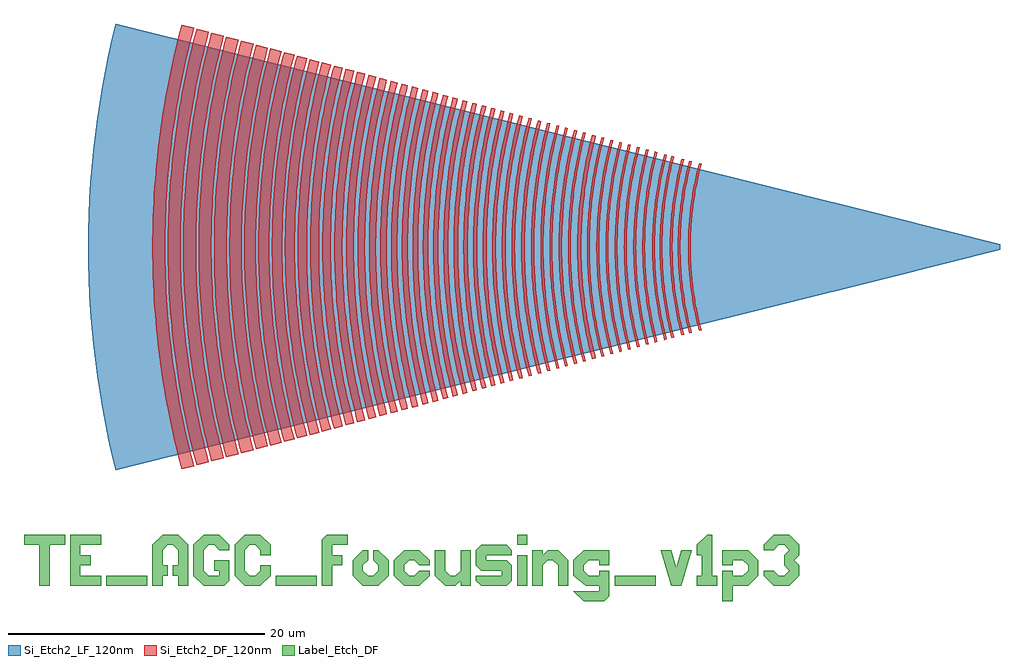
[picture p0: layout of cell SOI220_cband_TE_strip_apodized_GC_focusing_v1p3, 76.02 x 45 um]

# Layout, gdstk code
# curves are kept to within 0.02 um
import gdstk
lib = gdstk.Library(unit=1e-6, precision=1e-09)
def R(c, l, rs):  # rectangles x0, y0, x1, y1
    for r in rs: c.add(gdstk.rectangle(r[:2], r[2:], *l))
def P(c, l, *ps):  # polygons
    for p in ps: c.add(gdstk.Polygon(p, *l))
Si_Etch2_LF_120nm = (3, 0)
Si_Etch2_DF_120nm = (4, 0)
Label_Etch_DF = (100, 0)

text_gdsfactorypcomponen = lib.new_cell('text_gdsfactorypcomponentsptextsptext_TTE_AGC_focusing__f107b054')
R(text_gdsfactorypcomponen, Label_Etch_DF, [(6.8,0,10,0.8), (20,0,23.2,0.8), (38.8,0,39.6,2.4), (46.4,0,49.6,0.8), (38.8,3.2,39.6,4)])
P(text_gdsfactorypcomponen, Label_Etch_DF, [(26.8,0),(26,0.8),(26,2),(26.8,2.8),(27.2,2.8),(27.2,2),(26.8,1.6),(26.8,1.2),(27.2,0.8),(27.6,0.8),(28,1.2),(28,1.6),(27.6,2),(27.6,2.8),(28,2.8),(28.8,2),(28.8,0.8),(28,0)],
  [(30,0),(29.2,0.8),(29.2,2),(30,2.8),(31.2,2.8),(32,2),(32,1.6),(31.2,1.6),(30.8,2),(30.4,2),(30,1.6),(30,1.2),(30.4,0.8),(30.8,0.8),(31.2,1.2),(32,1.2),(32,0.8),(31.2,0)],
  [(33.2,0),(32.4,0.8),(32.4,2.8),(33.2,2.8),(33.2,1.2),(33.6,0.8),(34,0.8),(34.4,1.2),(34.4,2.8),(35.2,2.8),(35.2,0),(34.4,0),(34.4,0.4),(34,0)],
  [(40,0),(40,2.8),(40.8,2.8),(40.8,2.4),(41.2,2.8),(42,2.8),(42.8,2),(42.8,0),(42,0),(42,1.6),(41.6,2),(41.2,2),(40.8,1.6),(40.8,0)],
  [(44,-1.2),(43.2,-0.4),(45.2,-0.4),(45.2,0),(44.136,0),(43.2,0.8),(43.2,2),(44,2.8),(46,2.8),(46,1.6),(45.2,1.6),(45.2,2),(44.4,2),(44,1.6),(44,1.2),(44.4,0.8),(45.2,0.8),(45.2,1.2),(46,1.2),(46,-0.8),(45.6,-1.2)],
  [(50.8,0),(50,2.8),(50.8,2.8),(51.2,1.4),(51.6,2.8),(52.4,2.8),(51.6,0)],
  [(54.8,-1.2),(54.8,1.2),(55.6,1.2),(55.6,0.8),(56.4,0.8),(56.8,1.2),(56.8,1.6),(56.4,2),(55.6,2),(55.6,1.6),(54.8,1.6),(54.8,2.8),(56.8,2.8),(57.6,2),(57.6,0.8),(56.8,0),(55.6,0),(55.6,-1.2)],
  [(36,0),(35.6,0.4),(35.6,0.8),(37.6,0.8),(37.6,1.2),(36,1.2),(35.6,1.6),(35.6,2.8),(36,3.2),(38,3.2),(38.4,2.8),(38.4,2.4),(36.4,2.4),(36.4,2),(38,2),(38.4,1.6),(38.4,0.4),(38,0)],
  [(1.6,0),(1.6,3.2),(0.4,3.2),(0.4,4),(3.6,4),(3.6,3.2),(2.4,3.2),(2.4,0)],
  [(4,0),(4,4),(6.4,4),(6.4,3.2),(4.8,3.2),(4.8,2.4),(5.6,2.4),(5.6,1.6),(4.8,1.6),(4.8,0.8),(6.4,0.8),(6.4,0)],
  [(10.396,0),(10.4,3.2),(11.2,4),(12.404,4),(13.2,3.2),(13.2,0),(12.404,0),(12.404,0.8),(12,0.8),(12,1.6),(12.404,1.6),(12.404,2.8),(12,3.2),(11.6,3.2),(11.2,2.8),(11.2,1.6),(11.6,1.6),(11.6,0.8),(11.2,0.8),(11.2,0)],
  [(14.4,0),(13.6,0.8),(13.6,3.2),(14.4,4),(15.6,4),(16.4,3.2),(16.4,2.8),(15.6,2.8),(15.2,3.2),(14.8,3.2),(14.4,2.8),(14.4,1.2),(14.8,0.8),(15.6,0.8),(15.6,1.2),(15.2,1.2),(15.2,2),(16.4,2),(16.4,0.4),(16,0)],
  [(17.6,0),(16.8,0.8),(16.8,3.2),(17.6,4),(18.8,4),(19.6,3.2),(19.6,2.4),(18.8,2.4),(18.8,2.8),(18.4,3.2),(18,3.2),(17.6,2.8),(17.6,1.2),(18,0.8),(18.4,0.8),(18.8,1.2),(18.8,1.6),(19.6,1.6),(19.6,0.8),(18.8,0)],
  [(23.6,0),(23.6,3.6),(24,4),(25.6,4),(25.6,3.2),(24.4,3.2),(24.4,2.4),(25.2,2.4),(25.2,1.6),(24.4,1.6),(24.4,0)],
  [(52.8,0),(52.8,0.8),(53.2,0.8),(53.2,2.4),(52.8,2.4),(52.8,3.2),(53.6,4),(54,4),(54,0.8),(54.4,0.8),(54.4,0)],
  [(58.8,0),(58,0.8),(58,1.2),(58.8,1.2),(59.2,0.8),(59.6,0.8),(60,1.2),(59.6,1.6),(59.6,2.4),(60,2.8),(59.6,3.2),(59.2,3.2),(58.8,2.8),(58,2.8),(58,3.2),(58.8,4),(60,4),(60.8,3.2),(60.8,2.4),(60.4,2),(60.8,1.6),(60.8,0.8),(60,0)])

soi220_cband_te_strip_ap = lib.new_cell('SOI220_cband_TE_strip_apodized_GC_focusing_v1p3')
P(soi220_cband_te_strip_ap, Si_Etch2_LF_120nm, [(-68.885,-17.4),(-69.178,-16.179),(-69.7,-13.724),(-70.136,-11.251),(-70.485,-8.765),(-70.627,-7.518),(-70.846,-5.017),(-70.977,-2.51),(-71.021,0),(-70.977,2.51),(-70.846,5.017),(-70.627,7.518),(-70.485,8.765),(-70.136,11.251),(-69.7,13.724),(-69.178,16.179),(-68.885,17.4),(0,0.225),(0,-0.225)])
P(soi220_cband_te_strip_ap, Si_Etch2_DF_120nm, [(-23.439,-6.522),(-23.835,-4.808),(-24.111,-3.071),(-24.251,-1.538),(-24.298,0),(-24.251,1.538),(-24.111,3.071),(-23.835,4.808),(-23.439,6.522),(-23.246,6.47),(-23.639,4.77),(-23.884,3.263),(-24.037,1.744),(-24.098,0),(-24.037,-1.744),(-23.884,-3.263),(-23.639,-4.77),(-23.246,-6.47)],
  [(-24.204,-6.726),(-24.612,-4.959),(-24.897,-3.167),(-25.042,-1.587),(-25.09,0),(-25.042,1.587),(-24.897,3.167),(-24.612,4.959),(-24.204,6.726),(-24.011,6.675),(-24.416,4.921),(-24.669,3.367),(-24.842,1.575),(-24.89,0),(-24.842,-1.575),(-24.669,-3.367),(-24.416,-4.921),(-24.011,-6.675)],
  [(-24.806,-6.888),(-25.179,-5.306),(-25.485,-3.474),(-25.649,-1.857),(-25.713,0),(-25.649,1.857),(-25.485,3.474),(-25.179,5.306),(-24.806,6.888),(-24.613,6.837),(-25.028,5.04),(-25.287,3.448),(-25.449,1.843),(-25.513,0),(-25.449,-1.843),(-25.287,-3.448),(-25.028,-5.04),(-24.613,-6.837)],
  [(-25.57,-7.092),(-25.954,-5.464),(-26.269,-3.577),(-26.438,-1.912),(-26.504,0),(-26.438,1.912),(-26.269,3.577),(-25.954,5.464),(-25.57,7.092),(-25.377,7.041),(-25.758,5.424),(-26.071,3.551),(-26.238,1.898),(-26.304,0),(-26.238,-1.898),(-26.071,-3.551),(-25.758,-5.424),(-25.377,-7.041)],
  [(-26.135,-7.244),(-26.372,-6.297),(-26.621,-5.102),(-26.881,-3.411),(-27.037,-1.709),(-27.089,0),(-27.037,1.709),(-26.881,3.411),(-26.621,5.102),(-26.372,6.297),(-26.135,7.244),(-25.942,7.193),(-26.331,5.541),(-26.651,3.627),(-26.837,1.697),(-26.889,0),(-26.837,-1.697),(-26.651,-3.627),(-26.331,-5.541),(-25.942,-7.193)],
  [(-26.873,-7.442),(-27.276,-5.733),(-27.607,-3.753),(-27.8,-1.755),(-27.853,0),(-27.8,1.755),(-27.607,3.753),(-27.276,5.733),(-26.873,7.442),(-26.68,7.391),(-27.08,5.693),(-27.409,3.727),(-27.6,1.743),(-27.653,0),(-27.6,-1.743),(-27.409,-3.727),(-27.08,-5.693),(-26.68,-7.391)],
  [(-27.549,-7.623),(-27.962,-5.873),(-28.301,-3.845),(-28.482,-2.055),(-28.553,0),(-28.482,2.055),(-28.301,3.845),(-27.962,5.873),(-27.549,7.623),(-27.356,7.572),(-27.816,5.582),(-28.103,3.819),(-28.282,2.041),(-28.353,0),(-28.282,-2.041),(-28.103,-3.819),(-27.816,-5.582),(-27.356,-7.572)],
  [(-28.258,-7.813),(-28.681,-6.019),(-29.028,-3.94),(-29.214,-2.106),(-29.287,0),(-29.214,2.106),(-29.028,3.94),(-28.681,6.019),(-28.258,7.813),(-28.065,7.762),(-28.485,5.979),(-28.83,3.914),(-29.014,2.092),(-29.087,0),(-29.014,-2.092),(-28.83,-3.914),(-28.485,-5.979),(-28.065,-7.762)],
  [(-28.949,-7.998),(-29.382,-6.161),(-29.737,-4.034),(-29.945,-1.886),(-30.002,0),(-29.945,1.886),(-29.737,4.034),(-29.382,6.161),(-28.949,7.998),(-28.756,7.947),(-29.186,6.121),(-29.539,4.008),(-29.745,1.874),(-29.802,0),(-29.745,-1.874),(-29.539,-4.008),(-29.186,-6.121),(-28.756,-7.947)],
  [(-29.637,-8.182),(-29.905,-7.112),(-30.134,-6.033),(-30.444,-4.127),(-30.638,-2.206),(-30.715,0),(-30.638,2.206),(-30.444,4.127),(-30.134,6.033),(-29.905,7.112),(-29.637,8.182),(-29.444,8.131),(-29.938,5.995),(-30.246,4.101),(-30.456,1.918),(-30.515,0),(-30.456,-1.918),(-30.246,-4.101),(-29.938,-5.995),(-29.444,-8.131)],
  [(-30.33,-8.368),(-30.604,-7.274),(-30.838,-6.17),(-31.155,-4.22),(-31.354,-2.255),(-31.432,0),(-31.354,2.255),(-31.155,4.22),(-30.838,6.17),(-30.604,7.274),(-30.33,8.368),(-30.13,8.315),(-30.402,7.227),(-30.635,6.13),(-30.95,4.193),(-31.147,2.241),(-31.225,0),(-31.147,-2.241),(-30.95,-4.193),(-30.635,-6.13),(-30.402,-7.227),(-30.13,-8.315)],
  [(-31.037,-8.557),(-31.5,-6.592),(-31.881,-4.316),(-32.012,-3.169),(-32.103,-2.018),(-32.164,0),(-32.103,2.018),(-32.012,3.169),(-31.881,4.316),(-31.5,6.592),(-31.037,8.557),(-30.844,8.506),(-31.122,7.393),(-31.36,6.271),(-31.683,4.29),(-31.813,3.15),(-31.903,2.006),(-31.964,0),(-31.903,-2.006),(-31.813,-3.15),(-31.683,-4.29),(-31.36,-6.271),(-31.122,-7.393),(-30.844,-8.506)],
  [(-31.774,-8.754),(-32.247,-6.744),(-32.462,-5.583),(-32.636,-4.415),(-32.843,-2.359),(-32.906,-1.181),(-32.926,0),(-32.906,1.181),(-32.843,2.359),(-32.636,4.415),(-32.462,5.583),(-32.247,6.744),(-31.774,8.754),(-31.47,8.674),(-31.939,6.682),(-32.152,5.531),(-32.325,4.374),(-32.53,2.338),(-32.592,1.17),(-32.612,0),(-32.592,-1.17),(-32.53,-2.338),(-32.325,-4.374),(-32.152,-5.531),(-31.939,-6.682),(-31.47,-8.674)],
  [(-32.462,-8.939),(-32.946,-6.886),(-33.165,-5.701),(-33.343,-4.508),(-33.48,-3.31),(-33.575,-2.108),(-33.639,0),(-33.575,2.108),(-33.48,3.31),(-33.343,4.508),(-33.165,5.701),(-32.946,6.886),(-32.462,8.939),(-32.269,8.888),(-32.559,7.725),(-32.864,6.258),(-33.062,5.076),(-33.251,3.59),(-33.392,1.797),(-33.439,0),(-33.392,-1.797),(-33.251,-3.59),(-33.062,-5.076),(-32.864,-6.258),(-32.559,-7.725),(-32.269,-8.888)],
  [(-33.162,-9.126),(-33.459,-7.933),(-33.716,-6.729),(-34.061,-4.604),(-34.201,-3.38),(-34.298,-2.153),(-34.363,0),(-34.298,2.153),(-34.201,3.38),(-34.061,4.604),(-33.716,6.729),(-33.459,7.933),(-33.162,9.126),(-32.929,9.065),(-33.224,7.879),(-33.479,6.683),(-33.822,4.572),(-34.037,2.443),(-34.101,1.222),(-34.122,0),(-34.101,-1.222),(-34.037,-2.443),(-33.822,-4.572),(-33.479,-6.683),(-33.224,-7.879),(-32.929,-9.065)],
  [(-33.853,-9.311),(-34.357,-7.174),(-34.585,-5.939),(-34.771,-4.696),(-34.992,-2.51),(-35.057,-1.256),(-35.079,0),(-35.057,1.256),(-34.992,2.51),(-34.771,4.696),(-34.585,5.939),(-34.357,7.174),(-33.853,9.311),(-33.657,9.26),(-33.959,8.048),(-34.219,6.827),(-34.436,5.597),(-34.646,4.05),(-34.827,1.872),(-34.876,0),(-34.827,-1.872),(-34.646,-4.05),(-34.436,-5.597),(-34.219,-6.827),(-33.959,-8.048),(-33.657,-9.26)],
  [(-34.538,-9.495),(-35.052,-7.315),(-35.285,-6.055),(-35.474,-4.789),(-35.619,-3.516),(-35.72,-2.24),(-35.788,0),(-35.72,2.24),(-35.619,3.516),(-35.474,4.789),(-35.285,6.055),(-35.052,7.315),(-34.538,9.495),(-34.324,9.439),(-34.835,7.271),(-35.067,6.019),(-35.255,4.76),(-35.399,3.495),(-35.499,2.226),(-35.567,0),(-35.499,-2.226),(-35.399,-3.495),(-35.255,-4.76),(-35.067,-6.019),(-34.835,-7.271),(-34.324,-9.439)],
  [(-35.248,-9.685),(-35.564,-8.419),(-35.836,-7.141),(-36.203,-4.885),(-36.351,-3.587),(-36.454,-2.285),(-36.523,0),(-36.454,2.285),(-36.351,3.587),(-36.203,4.885),(-35.836,7.141),(-35.564,8.419),(-35.248,9.685),(-35.02,9.625),(-35.334,8.366),(-35.604,7.096),(-35.969,4.854),(-36.116,3.564),(-36.218,2.27),(-36.287,0),(-36.218,-2.27),(-36.116,-3.564),(-35.969,-4.854),(-35.604,-7.096),(-35.334,-8.366),(-35.02,-9.625)],
  [(-35.984,-9.882),(-36.519,-7.613),(-36.761,-6.303),(-36.959,-4.984),(-37.109,-3.661),(-37.214,-2.331),(-37.285,0),(-37.214,2.331),(-37.109,3.661),(-36.959,4.984),(-36.761,6.303),(-36.519,7.613),(-35.984,9.882),(-35.728,9.815),(-36.259,7.56),(-36.5,6.259),(-36.696,4.95),(-36.928,2.645),(-36.997,1.323),(-37.02,0),(-36.997,-1.323),(-36.928,-2.645),(-36.696,-4.95),(-36.5,-6.259),(-36.259,-7.56),(-35.728,-9.815)],
  [(-36.714,-10.078),(-37.259,-7.764),(-37.507,-6.428),(-37.708,-5.083),(-37.862,-3.732),(-37.969,-2.377),(-38.041,0),(-37.969,2.377),(-37.862,3.732),(-37.708,5.083),(-37.507,6.428),(-37.259,7.764),(-36.714,10.078),(-36.46,10.011),(-37.001,7.712),(-37.248,6.384),(-37.447,5.049),(-37.684,2.698),(-37.754,1.35),(-37.778,0),(-37.754,-1.35),(-37.684,-2.698),(-37.447,-5.049),(-37.248,-6.384),(-37.001,-7.712),(-36.46,-10.011)],
  [(-37.448,-10.275),(-37.784,-8.932),(-38.072,-7.576),(-38.462,-5.183),(-38.704,-2.77),(-38.777,-1.386),(-38.801,0),(-38.777,1.386),(-38.704,2.77),(-38.462,5.183),(-38.072,7.576),(-37.784,8.932),(-37.448,10.275),(-37.171,10.202),(-37.723,7.858),(-37.973,6.506),(-38.177,5.145),(-38.418,2.75),(-38.49,1.376),(-38.514,0),(-38.49,-1.376),(-38.418,-2.75),(-38.177,-5.145),(-37.973,-6.506),(-37.723,-7.858),(-37.171,-10.202)],
  [(-38.172,-10.47),(-38.739,-8.065),(-38.996,-6.676),(-39.205,-5.281),(-39.452,-2.822),(-39.527,-1.412),(-39.551,0),(-39.527,1.412),(-39.452,2.822),(-39.205,5.281),(-38.996,6.676),(-38.739,8.065),(-38.172,10.47),(-37.895,10.396),(-38.458,8.008),(-38.713,6.629),(-38.92,5.243),(-39.079,3.85),(-39.189,2.452),(-39.264,0),(-39.189,-2.452),(-39.079,-3.85),(-38.92,-5.243),(-38.713,-6.629),(-38.458,-8.008),(-37.895,-10.396)],
  [(-38.891,-10.66),(-39.467,-8.213),(-39.729,-6.8),(-39.941,-5.377),(-40.105,-3.949),(-40.217,-2.516),(-40.294,0),(-40.217,2.516),(-40.105,3.949),(-39.941,5.377),(-39.729,6.8),(-39.467,8.213),(-38.891,10.66),(-38.6,10.584),(-38.945,9.199),(-39.242,7.803),(-39.643,5.338),(-39.805,3.92),(-39.917,2.497),(-39.993,0),(-39.917,-2.497),(-39.805,-3.92),(-39.643,-5.338),(-39.242,-7.803),(-38.945,-9.199),(-38.6,-10.584)],
  [(-39.611,-10.853),(-40.197,-8.361),(-40.464,-6.922),(-40.68,-5.475),(-40.937,-2.926),(-41.014,-1.464),(-41.039,0),(-41.014,1.464),(-40.937,2.926),(-40.68,5.475),(-40.464,6.922),(-40.197,8.361),(-39.611,10.853),(-39.308,10.774),(-39.659,9.364),(-39.961,7.943),(-40.37,5.434),(-40.625,2.904),(-40.701,1.453),(-40.726,0),(-40.701,-1.453),(-40.625,-2.904),(-40.37,-5.434),(-39.961,-7.943),(-39.659,-9.364),(-39.308,-10.774)],
  [(-40.34,-11.049),(-40.699,-9.604),(-41.01,-8.147),(-41.429,-5.572),(-41.69,-2.978),(-41.768,-1.489),(-41.794,0),(-41.768,1.489),(-41.69,2.978),(-41.429,5.572),(-41.01,8.147),(-40.699,9.604),(-40.34,11.049),(-40.017,10.964),(-40.61,8.446),(-40.879,6.992),(-41.098,5.529),(-41.357,2.955),(-41.434,1.478),(-41.46,0),(-41.434,-1.478),(-41.357,-2.955),(-41.098,-5.529),(-40.879,-6.992),(-40.61,-8.446),(-40.017,-10.964)],
  [(-41.085,-11.249),(-41.452,-9.778),(-41.768,-8.294),(-42.194,-5.674),(-42.366,-4.166),(-42.485,-2.654),(-42.54,-1.517),(-42.566,0),(-42.54,1.517),(-42.485,2.654),(-42.366,4.166),(-42.194,5.674),(-41.768,8.294),(-41.452,9.778),(-41.085,11.249),(-40.741,11.158),(-41.345,8.595),(-41.619,7.116),(-41.841,5.627),(-42.012,4.132),(-42.13,2.632),(-42.21,0),(-42.13,-2.632),(-42.012,-4.132),(-41.841,-5.627),(-41.619,-7.116),(-41.345,-8.595),(-40.741,-11.158)],
  [(-41.845,-11.451),(-42.217,-9.954),(-42.539,-8.444),(-42.974,-5.776),(-43.11,-4.625),(-43.244,-3.087),(-43.325,-1.544),(-43.352,0),(-43.325,1.544),(-43.244,3.087),(-43.11,4.625),(-42.974,5.776),(-42.539,8.444),(-42.217,9.954),(-41.845,11.451),(-41.481,11.356),(-41.851,9.87),(-42.17,8.372),(-42.436,6.864),(-42.601,5.727),(-42.736,4.586),(-42.869,3.061),(-42.949,1.531),(-42.976,0),(-42.949,-1.531),(-42.869,-3.061),(-42.736,-4.586),(-42.601,-5.727),(-42.436,-6.864),(-42.17,-8.372),(-41.851,-9.87),(-41.481,-11.356)],
  [(-42.61,-11.658),(-42.991,-10.134),(-43.318,-8.595),(-43.528,-7.435),(-43.76,-5.88),(-43.937,-4.318),(-44.061,-2.75),(-44.118,-1.572),(-44.145,0),(-44.118,1.572),(-44.061,2.75),(-43.937,4.318),(-43.76,5.88),(-43.528,7.435),(-43.318,8.595),(-42.991,10.134),(-42.61,11.658),(-42.229,11.557),(-42.607,10.045),(-42.855,8.902),(-43.139,7.37),(-43.369,5.828),(-43.545,4.28),(-43.668,2.726),(-43.736,1.169),(-43.751,0),(-43.736,-1.169),(-43.668,-2.726),(-43.545,-4.28),(-43.369,-5.828),(-43.139,-7.37),(-42.855,-8.902),(-42.607,-10.045),(-42.229,-11.557)],
  [(-43.384,-11.865),(-43.771,-10.313),(-44.026,-9.141),(-44.317,-7.568),(-44.553,-5.984),(-44.695,-4.792),(-44.834,-3.198),(-44.918,-1.6),(-44.946,0),(-44.918,1.6),(-44.834,3.198),(-44.695,4.792),(-44.553,5.984),(-44.317,7.568),(-44.026,9.141),(-43.771,10.313),(-43.384,11.865),(-42.983,11.759),(-43.367,10.22),(-43.619,9.058),(-43.908,7.499),(-44.142,5.93),(-44.322,4.355),(-44.446,2.774),(-44.503,1.586),(-44.531,0),(-44.503,-1.586),(-44.446,-2.774),(-44.322,-4.355),(-44.142,-5.93),(-43.908,-7.499),(-43.619,-9.058),(-43.367,-10.22),(-42.983,-11.759)],
  [(-44.17,-12.076),(-44.563,-10.496),(-44.902,-8.903),(-45.185,-7.299),(-45.36,-6.09),(-45.544,-4.472),(-45.672,-2.849),(-45.731,-1.628),(-45.759,0),(-45.731,1.628),(-45.672,2.849),(-45.544,4.472),(-45.36,6.09),(-45.185,7.299),(-44.902,8.903),(-44.563,10.496),(-44.17,12.076),(-43.747,11.964),(-44.137,10.398),(-44.473,8.82),(-44.753,7.231),(-44.927,6.033),(-45.109,4.43),(-45.236,2.822),(-45.294,1.613),(-45.322,0),(-45.294,-1.613),(-45.236,-2.822),(-45.109,-4.43),(-44.927,-6.033),(-44.753,-7.231),(-44.473,-8.82),(-44.137,-10.398),(-43.747,-11.964)],
  [(-44.969,-12.289),(-45.369,-10.682),(-45.714,-9.061),(-45.935,-7.838),(-46.18,-6.198),(-46.326,-4.964),(-46.47,-3.313),(-46.557,-1.657),(-46.586,0),(-46.557,1.657),(-46.47,3.313),(-46.326,4.964),(-46.18,6.198),(-45.935,7.838),(-45.714,9.061),(-45.369,10.682),(-44.969,12.289),(-44.524,12.172),(-44.921,10.579),(-45.182,9.376),(-45.481,7.762),(-45.724,6.138),(-45.909,4.507),(-46.038,2.871),(-46.11,1.231),(-46.126,0),(-46.11,-1.231),(-46.038,-2.871),(-45.909,-4.507),(-45.724,-6.138),(-45.481,-7.762),(-45.182,-9.376),(-44.921,-10.579),(-44.524,-12.172)],
  [(-45.781,-12.506),(-46.189,-10.872),(-46.539,-9.222),(-46.832,-7.56),(-47.014,-6.308),(-47.205,-4.632),(-47.337,-2.951),(-47.411,-1.265),(-47.427,0),(-47.411,1.265),(-47.337,2.951),(-47.205,4.632),(-47.014,6.308),(-46.832,7.56),(-46.539,9.222),(-46.189,10.872),(-45.781,12.506),(-45.313,12.383),(-45.717,10.763),(-46.064,9.129),(-46.287,7.897),(-46.534,6.245),(-46.723,4.586),(-46.854,2.921),(-46.927,1.252),(-46.943,0),(-46.927,-1.252),(-46.854,-2.921),(-46.723,-4.586),(-46.534,-6.245),(-46.287,-7.897),(-46.064,-9.129),(-45.717,-10.763),(-45.313,-12.383)],
  [(-46.604,-12.726),(-47.019,-11.064),(-47.376,-9.384),(-47.674,-7.694),(-47.859,-6.42),(-48.053,-4.714),(-48.159,-3.43),(-48.249,-1.716),(-48.279,0),(-48.249,1.716),(-48.187,3.002),(-48.053,4.714),(-47.859,6.42),(-47.674,7.694),(-47.376,9.384),(-47.019,11.064),(-46.604,12.726),(-46.112,12.597),(-46.523,10.949),(-46.876,9.287),(-47.171,7.614),(-47.354,6.353),(-47.546,4.665),(-47.679,2.971),(-47.74,1.699),(-47.77,0),(-47.74,-1.699),(-47.679,-2.971),(-47.546,-4.665),(-47.354,-6.353),(-47.171,-7.614),(-46.876,-9.287),(-46.523,-10.949),(-46.112,-12.597)],
  [(-47.441,-12.951),(-47.763,-11.684),(-48.141,-9.978),(-48.46,-8.26),(-48.717,-6.532),(-48.916,-4.797),(-49.053,-3.056),(-49.116,-1.747),(-49.146,0),(-49.116,1.747),(-49.053,3.056),(-48.916,4.797),(-48.717,6.532),(-48.46,8.26),(-48.141,9.978),(-47.763,11.684),(-47.441,12.951),(-46.922,12.814),(-47.34,11.138),(-47.615,9.871),(-47.93,8.172),(-48.185,6.462),(-48.381,4.745),(-48.517,3.023),(-48.579,1.728),(-48.609,0),(-48.579,-1.728),(-48.517,-3.023),(-48.381,-4.745),(-48.185,-6.462),(-47.93,-8.172),(-47.615,-9.871),(-47.34,-11.138),(-46.922,-12.814)],
  [(-48.296,-13.18),(-48.725,-11.458),(-49.096,-9.719),(-49.404,-7.968),(-49.595,-6.648),(-49.752,-5.324),(-49.907,-3.553),(-50,-1.778),(-50.031,0),(-50,1.778),(-49.907,3.553),(-49.752,5.324),(-49.595,6.648),(-49.404,7.968),(-49.096,9.719),(-48.725,11.458),(-48.296,13.18),(-47.751,13.036),(-48.176,11.331),(-48.542,9.611),(-48.847,7.879),(-49.036,6.574),(-49.235,4.828),(-49.373,3.075),(-49.45,1.319),(-49.467,0),(-49.45,-1.319),(-49.373,-3.075),(-49.235,-4.828),(-49.036,-6.574),(-48.847,-7.879),(-48.542,-9.611),(-48.176,-11.331),(-47.751,-13.036)],
  [(-49.162,-13.412),(-49.6,-11.659),(-49.976,-9.889),(-50.29,-8.108),(-50.485,-6.766),(-50.644,-5.418),(-50.802,-3.615),(-50.897,-1.809),(-50.928,0),(-50.897,1.809),(-50.802,3.615),(-50.644,5.418),(-50.485,6.766),(-50.29,8.108),(-49.976,9.889),(-49.6,11.659),(-49.162,13.412),(-48.589,13.261),(-49.022,11.526),(-49.394,9.776),(-49.704,8.015),(-49.897,6.688),(-50.099,4.911),(-50.21,3.574),(-50.304,1.788),(-50.335,0),(-50.304,-1.788),(-50.21,-3.574),(-50.099,-4.911),(-49.897,-6.688),(-49.704,-8.015),(-49.394,-9.776),(-49.022,-11.526),(-48.589,-13.261)],
  [(-50.048,-13.649),(-50.388,-12.314),(-50.787,-10.515),(-51.121,-8.706),(-51.394,-6.884),(-51.602,-5.056),(-51.747,-3.22),(-51.813,-1.841),(-51.845,0),(-51.813,1.841),(-51.747,3.22),(-51.602,5.056),(-51.394,6.884),(-51.121,8.706),(-50.787,10.515),(-50.388,12.314),(-50.048,13.649),(-49.444,13.49),(-49.78,12.168),(-50.174,10.391),(-50.505,8.603),(-50.774,6.803),(-50.98,4.996),(-51.123,3.182),(-51.202,1.364),(-51.22,0),(-51.202,-1.364),(-51.123,-3.182),(-50.98,-4.996),(-50.774,-6.803),(-50.505,-8.603),(-50.174,-10.391),(-49.78,-12.168),(-49.444,-13.49)],
  [(-50.951,-13.891),(-51.297,-12.531),(-51.703,-10.702),(-52.044,-8.861),(-52.32,-7.007),(-52.533,-5.144),(-52.68,-3.277),(-52.748,-1.874),(-52.78,0),(-52.748,1.874),(-52.68,3.277),(-52.533,5.144),(-52.32,7.007),(-52.044,8.861),(-51.703,10.702),(-51.297,12.531),(-50.951,13.891),(-50.316,13.724),(-50.658,12.378),(-51.059,10.571),(-51.396,8.752),(-51.669,6.921),(-51.833,5.543),(-51.994,3.699),(-52.091,1.851),(-52.123,0),(-52.091,-1.851),(-51.994,-3.699),(-51.833,-5.543),(-51.669,-6.921),(-51.396,-8.752),(-51.059,-10.571),(-50.658,-12.378),(-50.316,-13.724)],
  [(-51.872,-14.137),(-52.224,-12.754),(-52.636,-10.893),(-52.983,-9.018),(-53.266,-7.131),(-53.482,-5.237),(-53.6,-3.811),(-53.7,-1.907),(-53.733,0),(-53.7,1.907),(-53.6,3.811),(-53.482,5.237),(-53.266,7.131),(-52.983,9.018),(-52.636,10.893),(-52.224,12.754),(-51.872,14.137),(-51.203,13.961),(-51.658,12.135),(-52.05,10.293),(-52.377,8.439),(-52.58,7.041),(-52.793,5.17),(-52.91,3.763),(-53.008,1.883),(-53.041,0),(-53.008,-1.883),(-52.91,-3.763),(-52.793,-5.17),(-52.58,-7.041),(-52.377,-8.439),(-52.05,-10.293),(-51.658,-12.135),(-51.203,-13.961)],
  [(-52.81,-14.388),(-53.278,-12.508),(-53.683,-10.61),(-54.019,-8.699),(-54.229,-7.258),(-54.448,-5.33),(-54.601,-3.395),(-54.671,-1.94),(-54.704,0),(-54.671,1.94),(-54.601,3.395),(-54.448,5.33),(-54.229,7.258),(-54.019,8.699),(-53.683,10.61),(-53.278,12.508),(-52.81,14.388),(-52.106,14.203),(-52.569,12.345),(-52.968,10.471),(-53.3,8.585),(-53.507,7.163),(-53.723,5.26),(-53.874,3.35),(-53.943,1.915),(-53.976,0),(-53.943,-1.915),(-53.874,-3.35),(-53.723,-5.26),(-53.507,-7.163),(-53.3,-8.585),(-52.968,-10.471),(-52.569,-12.345),(-52.106,-14.203)],
  [(-53.768,-14.645),(-54.244,-12.732),(-54.559,-11.283),(-54.918,-9.342),(-55.21,-7.387),(-55.434,-5.425),(-55.59,-3.454),(-55.661,-1.975),(-55.695,0),(-55.661,1.975),(-55.59,3.454),(-55.434,5.425),(-55.21,7.387),(-54.918,9.342),(-54.559,11.283),(-54.244,12.732),(-53.768,14.645),(-53.027,14.45),(-53.498,12.559),(-53.808,11.131),(-54.163,9.215),(-54.451,7.287),(-54.672,5.351),(-54.825,3.408),(-54.91,1.461),(-54.929,0),(-54.91,-1.461),(-54.825,-3.408),(-54.672,-5.351),(-54.451,-7.287),(-54.163,-9.215),(-53.808,-11.131),(-53.498,-12.559),(-53.027,-14.45)],
  [(-54.748,-14.909),(-55.12,-13.45),(-55.555,-11.486),(-55.921,-9.509),(-56.218,-7.52),(-56.445,-5.522),(-56.604,-3.517),(-56.692,-1.508),(-56.711,0),(-56.692,1.508),(-56.604,3.517),(-56.445,5.522),(-56.218,7.52),(-55.921,9.509),(-55.555,11.486),(-55.12,13.45),(-54.748,14.909),(-53.966,14.702),(-54.333,13.261),(-54.762,11.325),(-55.123,9.375),(-55.416,7.414),(-55.591,5.938),(-55.764,3.962),(-55.867,1.982),(-55.902,0),(-55.867,-1.982),(-55.764,-3.962),(-55.591,-5.938),(-55.416,-7.414),(-55.123,-9.375),(-54.762,-11.325),(-54.333,-13.261),(-53.966,-14.702)],
  [(-55.767,-15.181),(-56.261,-13.197),(-56.687,-11.194),(-56.96,-9.683),(-57.263,-7.658),(-57.495,-5.623),(-57.622,-4.092),(-57.729,-2.048),(-57.765,0),(-57.729,2.048),(-57.622,4.092),(-57.495,5.623),(-57.263,7.658),(-56.96,9.683),(-56.687,11.194),(-56.261,13.197),(-55.767,15.181),(-54.941,14.963),(-55.429,13.005),(-55.849,11.031),(-56.118,9.542),(-56.416,7.546),(-56.645,5.541),(-56.77,4.033),(-56.876,2.018),(-56.911,0),(-56.876,-2.018),(-56.77,-4.033),(-56.645,-5.541),(-56.416,-7.546),(-56.118,-9.542),(-55.849,-11.031),(-55.429,-13.005),(-54.941,-14.963)],
  [(-56.831,-15.466),(-57.216,-13.953),(-57.667,-11.915),(-58.048,-9.864),(-58.355,-7.802),(-58.54,-6.247),(-58.722,-4.168),(-58.83,-2.086),(-58.867,0),(-58.83,2.086),(-58.722,4.168),(-58.54,6.247),(-58.355,7.802),(-58.048,9.864),(-57.667,11.915),(-57.216,13.953),(-56.831,15.466),(-55.959,15.236),(-56.339,13.742),(-56.783,11.736),(-57.158,9.716),(-57.461,7.684),(-57.643,6.153),(-57.822,4.106),(-57.929,2.054),(-57.965,0),(-57.929,-2.054),(-57.822,-4.106),(-57.643,-6.153),(-57.461,-7.684),(-57.158,-9.716),(-56.783,-11.736),(-56.339,-13.742),(-55.959,-15.236)],
  [(-57.947,-15.764),(-58.46,-13.704),(-58.798,-12.146),(-59.186,-10.056),(-59.5,-7.953),(-59.741,-5.84),(-59.873,-4.25),(-59.983,-2.126),(-60.021,0),(-59.983,2.126),(-59.873,4.25),(-59.741,5.84),(-59.5,7.953),(-59.186,10.056),(-58.798,12.146),(-58.46,13.704),(-57.947,15.764),(-57.024,15.521),(-57.53,13.49),(-57.863,11.956),(-58.245,9.898),(-58.554,7.828),(-58.791,5.748),(-58.921,4.183),(-59.03,2.093),(-59.067,0),(-59.03,-2.093),(-58.921,-4.183),(-58.791,-5.748),(-58.554,-7.828),(-58.245,-9.898),(-57.863,-11.956),(-57.53,-13.49),(-57.024,-15.521)],
  [(-59.105,-16.075),(-59.628,-13.975),(-60.08,-11.853),(-60.456,-9.719),(-60.689,-8.108),(-60.935,-5.954),(-61.07,-4.333),(-61.183,-2.168),(-61.221,0),(-61.183,2.168),(-61.07,4.333),(-60.935,5.954),(-60.689,8.108),(-60.456,9.719),(-60.08,11.853),(-59.628,13.975),(-59.105,16.075),(-58.138,15.82),(-58.532,14.269),(-58.994,12.186),(-59.383,10.088),(-59.698,7.978),(-59.94,5.858),(-60.107,3.731),(-60.184,2.133),(-60.221,0),(-60.184,-2.133),(-60.107,-3.731),(-59.94,-5.858),(-59.698,-7.978),(-59.383,-10.088),(-58.994,-12.186),(-58.532,-14.269),(-58.138,-15.82)],
  [(-60.264,-16.385),(-60.798,-14.245),(-61.258,-12.082),(-61.642,-9.905),(-61.879,-8.265),(-62.075,-6.62),(-62.267,-4.417),(-62.382,-2.21),(-62.421,0),(-62.382,2.21),(-62.267,4.417),(-62.075,6.62),(-61.879,8.265),(-61.642,9.905),(-61.258,12.082),(-60.798,14.245),(-60.264,16.385),(-59.297,16.13),(-59.824,14.02),(-60.17,12.425),(-60.566,10.286),(-60.888,8.135),(-61.134,5.973),(-61.305,3.805),(-61.4,1.631),(-61.421,0),(-61.4,-1.631),(-61.305,-3.805),(-61.134,-5.973),(-60.888,-8.135),(-60.566,-10.286),(-60.17,-12.425),(-59.824,-14.02),(-59.297,-16.13)],
  [(-61.424,-16.695),(-61.967,-14.515),(-62.436,-12.311),(-62.827,-10.093),(-63.069,-8.422),(-63.324,-6.184),(-63.501,-3.939),(-63.599,-1.689),(-63.621,0),(-63.599,1.689),(-63.501,3.939),(-63.324,6.184),(-63.069,8.422),(-62.827,10.093),(-62.436,12.311),(-61.967,14.515),(-61.424,16.695),(-60.457,16.441),(-60.993,14.29),(-61.346,12.664),(-61.75,10.484),(-62.078,8.291),(-62.329,6.088),(-62.503,3.878),(-62.599,1.663),(-62.621,0),(-62.599,-1.663),(-62.503,-3.878),(-62.329,-6.088),(-62.078,-8.291),(-61.75,-10.484),(-61.346,-12.664),(-60.993,-14.29),(-60.457,-16.441)],
  [(-62.583,-17.005),(-63.136,-14.785),(-63.614,-12.54),(-64.012,-10.282),(-64.258,-8.579),(-64.461,-6.869),(-64.661,-4.585),(-64.781,-2.294),(-64.821,0),(-64.781,2.294),(-64.661,4.585),(-64.461,6.869),(-64.258,8.579),(-64.012,10.282),(-63.614,12.54),(-63.136,14.785),(-62.583,17.005),(-61.616,16.752),(-62.033,15.109),(-62.522,12.904),(-62.933,10.682),(-63.267,8.448),(-63.523,6.203),(-63.7,3.951),(-63.782,2.259),(-63.821,0),(-63.782,-2.259),(-63.7,-3.951),(-63.523,-6.203),(-63.267,-8.448),(-62.933,-10.682),(-62.522,-12.904),(-62.033,-15.109),(-61.616,-16.752)],
  [(-63.742,-17.316),(-64.173,-15.622),(-64.678,-13.343),(-65.103,-11.045),(-65.448,-8.736),(-65.713,-6.414),(-65.858,-4.669),(-65.98,-2.336),(-66.021,0),(-65.98,2.336),(-65.858,4.669),(-65.713,6.414),(-65.448,8.736),(-65.103,11.045),(-64.678,13.343),(-64.173,15.622),(-63.742,17.316),(-62.775,17.062),(-63.2,15.389),(-63.698,13.143),(-64.117,10.88),(-64.457,8.605),(-64.718,6.318),(-64.898,4.025),(-64.981,2.301),(-65.021,0),(-64.981,-2.301),(-64.898,-4.025),(-64.718,-6.318),(-64.457,-8.605),(-64.117,-10.88),(-63.698,-13.143),(-63.2,-15.389),(-62.775,-17.062)])
soi220_cband_te_strip_ap.add(gdstk.Reference(text_gdsfactorypcomponen, (-76.421,-26.4)))

lib.write_gds('SOI220_cband_TE_strip_apodized_GC_focusing_v1p3.gds')
